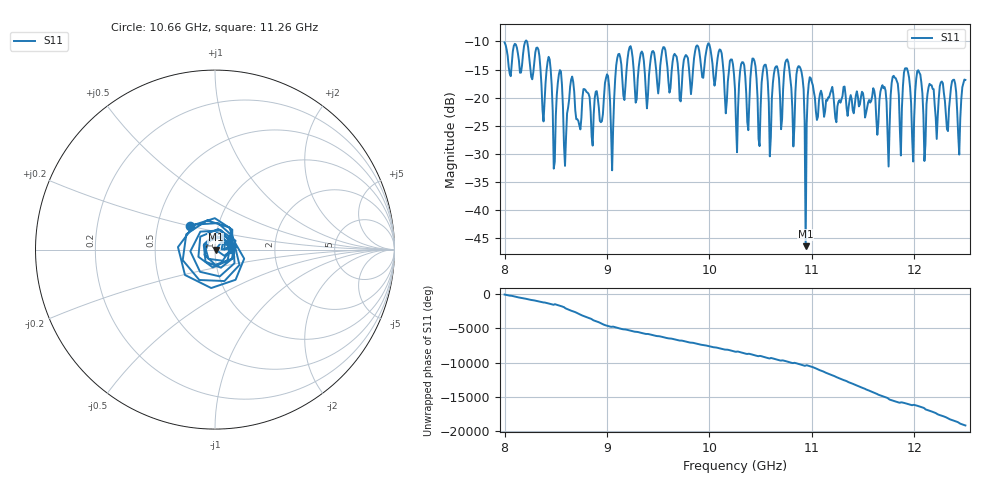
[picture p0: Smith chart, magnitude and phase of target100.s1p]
#  HZ  S  RI  R  50.00
! Rohde & Schwarz Vector Network Analyzer
! Rohde-Schwarz,ZNA43-4Port,1332450044101932,2.92
! Created: UTC 6/9/2026, 6:46:29 AM
! freq[Hz]  re:S11  im:S11
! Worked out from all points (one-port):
!   451 points, 8 GHz to 12.5 GHz, reference 50 ohm
!   lowest |S11| = -46.5 dB at 10.94 GHz (marker M1), VSWR 1.01, Z = 50.5 - j0.0956 ohm
!   |S11| at or under -10 dB: start of sweep to 8.202 GHz; 8.219 GHz to end of sweep
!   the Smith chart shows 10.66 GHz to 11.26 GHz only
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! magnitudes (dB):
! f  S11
! 8 GHz  -10.2
! 8.49 GHz  -31.4
! 8.54 GHz  -15.1
! 8.57 GHz  -21.7
! 9 GHz  -15.9
! 9.05 GHz  -33.0
! 9.13 GHz  -12.9
! 9.69 GHz  -13.9
! 10.1 GHz  -11.4
! 10.25 GHz  -18.5
! 10.43 GHz  -13.1
! 10.48 GHz  -27.4
! 10.54 GHz  -14.2
! 10.6 GHz  -27.1
! 10.76 GHz  -13.2
! 10.82 GHz  -28.7
! 10.88 GHz  -14.5
! 10.94 GHz  -46.5
! 10.99 GHz  -16.5
! 11.38 GHz  -19.6
! 11.75 GHz  -32.3
! 11.94 GHz  -15.5
! 11.98 GHz  -27.3
! 12.04 GHz  -15.1
! 12.11 GHz  -28.3
! 12.38 GHz  -16.8
! 12.44 GHz  -30.2
! 12.5 GHz  -16.9
